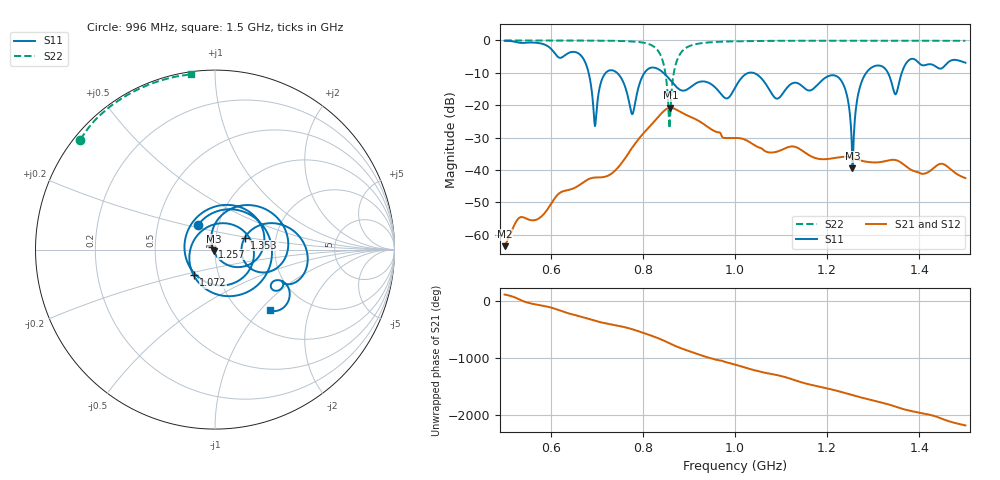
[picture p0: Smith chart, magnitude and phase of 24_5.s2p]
! TOUCHSTONE file generated by CST MICROWAVE STUDIO
! Date and time: Mon Nov 30 08:11:36 2020
! Project name: Scenario_1_Planar_Body_Tissue_Out_of_Line.cst
! Parameters = {dy1=51.9; L_HA=400; Ltissue=700; MT=2.54; Rad_Dielectric=30; Rad_Lower=7.3; Rad_Upper=30; Wtissue=700; a_HA=580; a_WG=246; b_HA=500; b_WG=121; c_HA=0; c_WG=187; d_feed=85; dx1=866; h_feed=15; h_lower=18; h_upper=40; hfat=3; hgap=25; hmuscle=50; hskin=1.5}
! Header version: 2018
! Port assignment regex: !\s*Touchstone port\s*([0-9]+)\s*=\s*(CST MWS port|CST DS port)\s*([0-9]+|Zmin|Zmax)\s*\(\"(.*)\"\)(\s*mode\s*([0-9]+))?.*
! Touchstone port assignment:
! Touchstone port 1 = CST MWS port 1 ("")
! Touchstone port 2 = CST MWS port 2 ("")
# GHz S DB R 50
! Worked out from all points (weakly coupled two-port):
!   1003 points, 500 MHz to 1.5 GHz, reference 50 ohm
!   highest |S21| = -20.81 dB at 860 MHz (marker M1); lowest = -63.5 dB at 500 MHz (marker M2)
!   lowest |S11| = -39.4 dB at 1.255 GHz (marker M3), VSWR 1.02, Z = 49.2 - j0.746 ohm
!   |S11| at or under -10 dB: 743.9 MHz to 803.6 MHz (59.61 MHz wide, 7.7 % of centre); 844.6 MHz to 1.03 GHz (185.2 MHz wide, 19.8 % of centre); 1.04 GHz to 1.285 GHz (245.3 MHz wide, 21.1 % of centre) (the widest 3 of 5)
!   |S22| runs from -27.2 to 0.0 dB; largest |S21 - S12| = 0.00097
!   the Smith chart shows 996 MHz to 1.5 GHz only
!   S11 on the Smith chart (normalised r, x): 996 MHz: 0.80, +0.22; 1.072 GHz: 0.76, -0.22; 1.257 GHz: 0.97, +0.03; 1.353 GHz: 1.38, +0.19; 1.5 GHz: 1.33, -1.13
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0.5  -0.10 -122.1  -63.53 106.3  -63.53 106.3  -0.01 151.1
0.583  -1.09 -168.1  -53.93 -90.2  -53.93 -90.2  -0.02 145.4
0.667  -4.86 122.1  -44.21 75.8  -44.21 75.8  -0.04 138.4
0.696  -26.46 -35.4  -42.34 6.1  -42.34 6.1  -0.06 135.3
0.723  -9.56 169.5  -41.85 -44.0  -41.85 -44.0  -0.10 131.9
0.777  -22.77 -34.1  -33.08 -141.7  -33.08 -141.7  -0.32 121.2
0.807  -9.38 158.2  -27.78 138.0  -27.78 138.0  -0.87 108.9
0.834  -8.89 71.2  -23.52 58.8  -23.52 58.8  -3.39 83.5
0.86  -12.30 -15.4  -20.81 -36.3  -20.81 -36.3  -20.98 -113.2
0.888  -15.52 -137.8  -22.59 -130.3  -22.59 -130.3  -2.93 178.4
0.996  -15.65 125.5  -30.14 -32.1  -30.15 -32.0  -0.28 140.7
1  -14.62 107.5  -30.12 -41.2  -30.13 -41.1  -0.27 140.2
1.032  -9.94 -4.8  -31.41 -118.6  -31.41 -118.7  -0.19 136.3
1.072  -14.61 -129.7  -34.53 165.5  -34.53 165.5  -0.14 132.2
1.167  -15.23 167.4  -35.91 -38.8  -35.90 -38.8  -0.09 124.2
1.228  -11.93 -6.3  -36.05 -154.9  -36.05 -154.9  -0.09 119.5
1.255  -39.43 -134.8  -36.30 142.6  -36.30 142.6  -0.08 117.5
1.257  -32.76 133.9  -36.38 138.2  -36.38 138.2  -0.08 117.3
1.282  -10.61 56.9  -37.37 86.5  -37.37 86.5  -0.08 115.4
1.334  -10.62 -25.7  -37.00 -20.5  -37.00 -20.5  -0.08 111.5
1.353  -14.95 21.7  -37.14 -70.2  -37.14 -70.2  -0.09 110.0
1.5  -6.87 -47.8  -42.52 -27.8  -42.52 -27.8  -0.13 97.9
